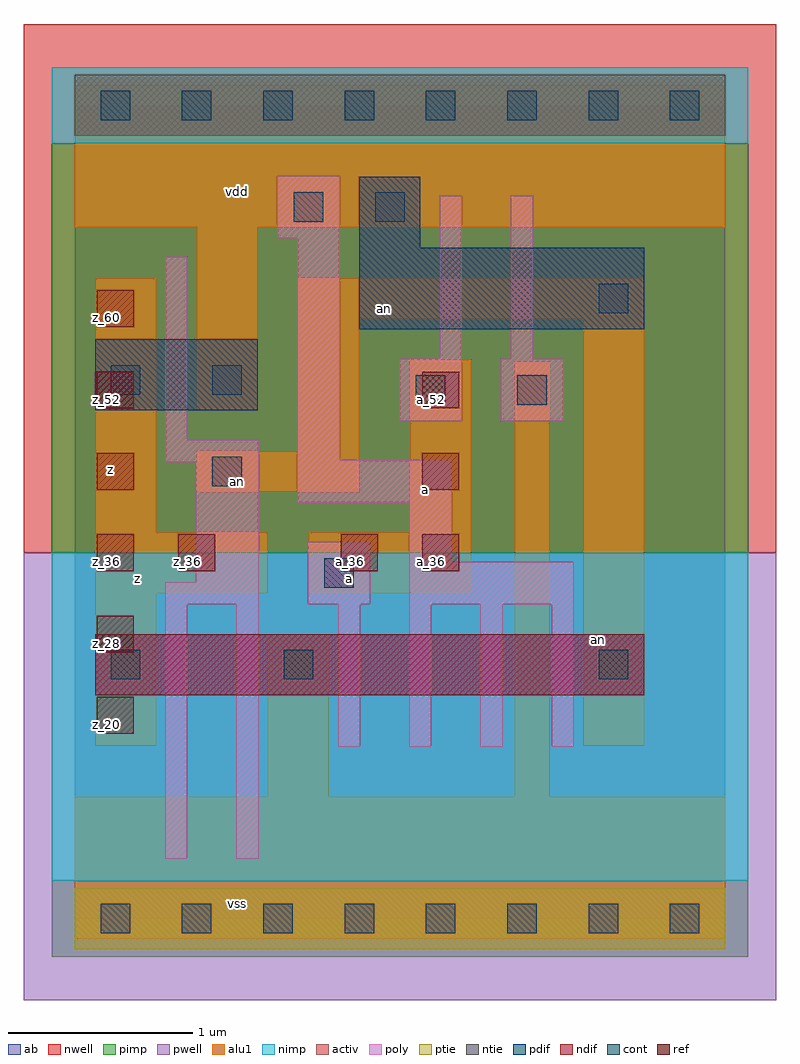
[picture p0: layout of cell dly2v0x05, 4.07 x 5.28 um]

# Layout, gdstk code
import gdstk
lib = gdstk.Library(unit=1e-6, precision=2.5e-09)
def R(c, l, rs):  # rectangles x0, y0, x1, y1
    for r in rs: c.add(gdstk.rectangle(r[:2], r[2:], *l))
def A(c, l, x, y, w, h, nx, ny, dx, dy):  # array of equal rectangles
    R(c, l, [(x+i*dx, y+j*dy, x+i*dx+w, y+j*dy+h) for i in range(nx) for j in range(ny)])
ndif = (3, 0)
pdif = (4, 0)
ntie = (5, 0)
ptie = (6, 0)
ref = (24, 0)
cont = (25, 0)
pwell = (41, 0)
nwell = (42, 0)
activ = (43, 0)
pimp = (44, 0)
nimp = (45, 0)
poly = (46, 0)
alu1 = (49, 0)
ab = (63, 0)

dly2v0x05 = lib.new_cell('dly2v0x05')
R(dly2v0x05, ndif, [(0.11,1.21,3.08,1.54)])
R(dly2v0x05, pdif, [(0.11,2.75,0.99,3.135), (1.54,3.19,3.08,3.63), (1.54,3.63,1.87,4.015)])
R(dly2v0x05, ntie, [(0,4.235,3.52,4.565)])
R(dly2v0x05, ptie, [(0,-0.165,3.52,0.165)])
A(dly2v0x05, ref, 0.12, 1, 0.2, 0.2, 1, 6, 0, 0.44)
A(dly2v0x05, ref, 1.88, 1.88, 0.2, 0.2, 1, 3, 0, 0.44)
R(dly2v0x05, ref, [(0.56,1.88,0.76,2.08), (1.44,1.88,1.64,2.08)])
A(dly2v0x05, cont, 0.14, -0.08, 0.16, 0.16, 8, 2, 0.44, 4.4)
R(dly2v0x05, cont, [(0.195,1.295,0.355,1.455), (1.13,1.295,1.29,1.455), (2.835,1.295,2.995,1.455), (1.35,1.79,1.51,1.95), (0.745,2.34,0.905,2.5), (1.845,2.78,2.005,2.94), (2.395,2.78,2.555,2.94), (0.195,2.835,0.355,2.995), (0.745,2.835,0.905,2.995), (2.835,3.275,2.995,3.435), (1.185,3.77,1.345,3.93), (1.625,3.77,1.785,3.93)])
R(dly2v0x05, pwell, [(-0.275,-0.44,3.795,1.98)])
R(dly2v0x05, nwell, [(-0.275,1.98,3.795,4.84)])
R(dly2v0x05, activ, [(0,-0.165,3.52,0.165), (0.11,1.21,3.08,1.54), (0.11,2.75,0.99,3.135), (1.54,3.19,3.08,3.63), (1.54,3.63,1.87,4.015), (0,4.235,3.52,4.565)])
R(dly2v0x05, pimp, [(-0.125,-0.205,3.645,0.205), (-0.125,1.98,3.645,4.195)])
R(dly2v0x05, nimp, [(-0.125,0.205,3.645,1.98), (-0.125,4.195,3.645,4.605)])
A(dly2v0x05, poly, 1.425, 0.93, 0.12, 0.77, 4, 1, 0.385, 0)
R(dly2v0x05, poly, [(0.49,0.325,0.61,1.7), (0.875,0.325,0.995,1.7), (0.49,1.7,0.995,1.82), (1.26,1.7,1.6,2.04), (1.81,1.7,2.7,1.93), (0.655,1.82,0.995,2.47), (1.81,1.93,2.04,2.25), (1.205,2.25,2.04,2.48), (0.49,2.47,0.995,2.59), (1.205,2.48,1.435,3.68), (0.49,2.59,0.61,3.58), (1.755,2.69,2.095,3.03), (2.305,2.69,2.645,3.03), (1.975,3.03,2.095,3.91), (2.36,3.03,2.48,3.91), (1.095,3.68,1.435,4.02)])
R(dly2v0x05, alu1, [(0,-0.11,3.52,0.66), (1.045,0.66,1.375,1.54), (2.38,0.66,2.57,3.01), (0.11,0.935,0.44,1.76), (2.75,0.935,3.08,3.245), (0.11,1.76,1.045,2.09), (1.265,1.76,2.145,2.09), (0.11,2.09,0.44,3.465), (1.815,2.09,2.145,3.025), (0.66,2.31,1.54,2.53), (1.21,2.53,1.54,3.245), (0.66,2.75,0.99,3.74), (1.21,3.245,3.08,3.465), (0,3.74,3.52,4.51)])
R(dly2v0x05, ab, [(0,0,3.52,4.4)])
dly2v0x05.add(gdstk.Label('vss', (0.88,0.0825), layer=49, texttype=0))
dly2v0x05.add(gdstk.Label('an', (2.8325,1.5125), layer=49, texttype=0))
dly2v0x05.add(gdstk.Label('a', (1.485,1.8425), layer=49, texttype=0))
dly2v0x05.add(gdstk.Label('z', (0.3425,1.8425), layer=49, texttype=0))
dly2v0x05.add(gdstk.Label('a', (1.8975,2.3225), layer=49, texttype=0))
dly2v0x05.add(gdstk.Label('an', (0.88,2.365), layer=49, texttype=0))
dly2v0x05.add(gdstk.Label('an', (1.6775,3.3), layer=49, texttype=0))
dly2v0x05.add(gdstk.Label('z', (0.1925,2.4325), layer=49, texttype=0))
dly2v0x05.add(gdstk.Label('vdd', (0.88,3.9325), layer=49, texttype=0))
dly2v0x05.add(gdstk.Label('z_36', (0.61,1.93), layer=24, texttype=0))
dly2v0x05.add(gdstk.Label('a_36', (1.49,1.93), layer=24, texttype=0))
dly2v0x05.add(gdstk.Label('a_36', (1.93,1.93), layer=24, texttype=0))
dly2v0x05.add(gdstk.Label('a_44', (1.93,2.37), layer=24, texttype=0))
dly2v0x05.add(gdstk.Label('a_52', (1.93,2.81), layer=24, texttype=0))
dly2v0x05.add(gdstk.Label('z_20', (0.17,1.05), layer=24, texttype=0))
dly2v0x05.add(gdstk.Label('z_28', (0.17,1.49), layer=24, texttype=0))
dly2v0x05.add(gdstk.Label('z_36', (0.17,1.93), layer=24, texttype=0))
dly2v0x05.add(gdstk.Label('z_44', (0.17,2.37), layer=24, texttype=0))
dly2v0x05.add(gdstk.Label('z_52', (0.17,2.81), layer=24, texttype=0))
dly2v0x05.add(gdstk.Label('z_60', (0.17,3.25), layer=24, texttype=0))

lib.write_gds('dly2v0x05.gds')
